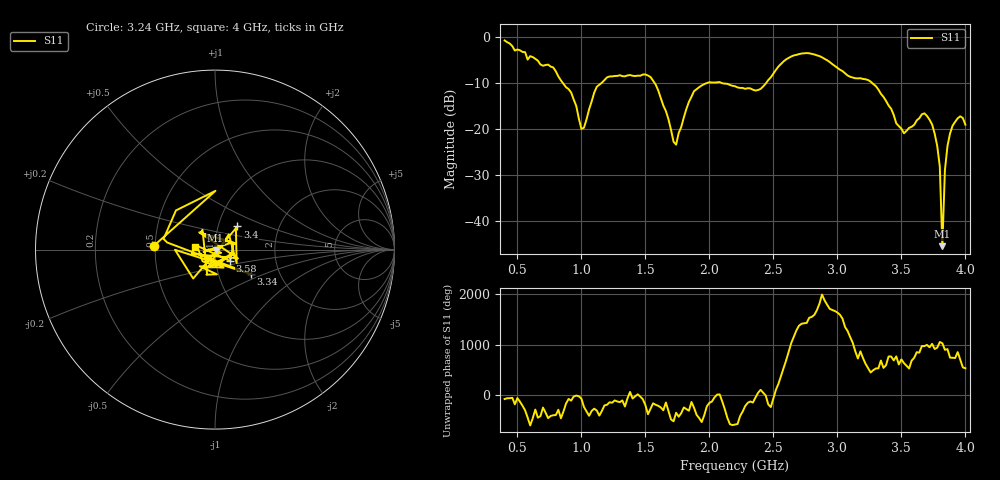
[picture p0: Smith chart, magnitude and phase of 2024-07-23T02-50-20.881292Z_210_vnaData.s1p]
!Created with skrf (http://scikit-rf.org).
# Hz S RI R 50.0
!freq ReS11 ImS11
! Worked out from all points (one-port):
!   181 points, 400 MHz to 4 GHz, reference 50 ohm
!   lowest |S11| = -45.6 dB at 3.82 GHz (marker M1), VSWR 1.01, Z = 50.3 - j0.422 ohm
!   |S11| at or under -10 dB: 1.572 GHz to 1.982 GHz (409.7 MHz wide, 23.1 % of centre); 2.096 GHz to 2.443 GHz (347 MHz wide, 15.3 % of centre); 3.271 GHz to end of sweep (the widest 3 of 4)
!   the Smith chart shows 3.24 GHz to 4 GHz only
!   S11 on the Smith chart (normalised r, x): 3.24 GHz: 0.49, +0.02; 3.34 GHz: 1.43, -0.41; 3.4 GHz: 1.24, +0.33; 3.58 GHz: 1.17, -0.15; 4 GHz: 0.80, +0.02
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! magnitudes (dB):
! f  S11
! 400 MHz  -0.7
! 860 MHz  -10.2
! 920 MHz  -12.1
! 1 GHz  -20.0
! 1.12 GHz  -10.8
! 1.3 GHz  -8.3
! 1.54 GHz  -8.7
! 1.72 GHz  -22.8
! 1.76 GHz  -20.9
! 1.88 GHz  -11.8
! 2.2 GHz  -10.7
! 2.4 GHz  -11.3
! 2.66 GHz  -4.0
! 3.1 GHz  -8.6
! 3.24 GHz  -9.4
! 3.34 GHz  -12.4
! 3.4 GHz  -14.9
! 3.52 GHz  -21.0
! 3.56 GHz  -19.8
! 3.58 GHz  -19.5
! 3.68 GHz  -16.6
! 3.76 GHz  -21.0
! 3.8 GHz  -28.2
! 3.82 GHz  -45.6
! 3.84 GHz  -29.0
! 3.86 GHz  -23.8
! 3.94 GHz  -17.7
! 4 GHz  -19.1
